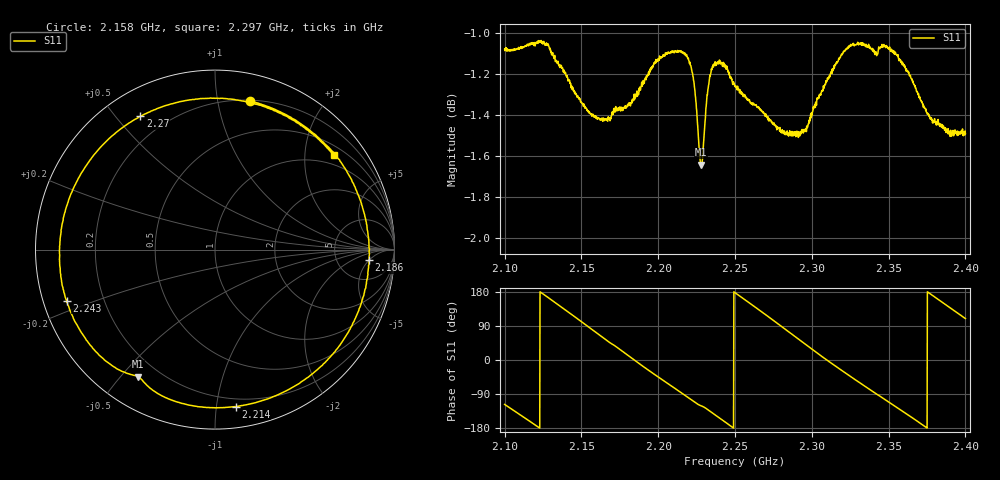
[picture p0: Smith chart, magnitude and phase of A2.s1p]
!Agilent N9918A: A.07.57
!Date: Thursday, 18 December 2014 18:14:04
!TimeZone: (GMT+08:00) Kuala Lumpur, Singapore!Model: N9918A
!Serial: MY53103598
!GPS Latitude:
!GPS Longitude:
!GPS TimeStamp: 0001-01-01 00:00:00Z
!GPS Seconds Since Last Read: 0
!CHECKSUM:1991412981
!Correction: S11(Rdy)
!S1P File: Measurement: S11:
# Hz S DB R 50
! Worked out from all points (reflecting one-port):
!   1601 points, 2.1 GHz to 2.4 GHz, reference 50 ohm
!   lowest |S11| = -1.6 dB at 2.228 GHz (marker M1), VSWR 10.61, Z = 6.2 - j27.9 ohm
!   phase of S11 starts at -117 deg and turns -853 deg over the sweep
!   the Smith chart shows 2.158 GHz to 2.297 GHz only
!   S11 on the Smith chart (normalised r, x): 2.158 GHz: 0.21, +1.24; 2.186 GHz: 11, -5; 2.214 GHz: 0.14, -1.13; 2.243 GHz: 0.07, -0.17; 2.27 GHz: 0.11, +0.58; 2.297 GHz: 0.73, +2.70
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2.1e9  -1.08 -117.2
2.11125e9  -1.07 -147.7
2.12025e9  -1.05 -172.4
2.1285e9  -1.06 164.3
2.1375e9  -1.17 138.3
2.148e9  -1.32 107.2
2.158125e9  -1.40 76.8
2.175e9  -1.37 28.1
2.185688e9  -1.31 -3.8
2.197875e9  -1.14 -38.9
2.2125e9  -1.10 -79.4
2.213625e9  -1.09 -82.5
2.228062e9  -1.64 -121.1
2.242688e9  -1.17 -161.1
2.25e9  -1.26 177.7
2.259562e9  -1.33 150.0
2.270062e9  -1.40 119.2
2.278875e9  -1.47 92.7
2.2875e9  -1.50 66.8
2.296875e9  -1.46 38.4
2.31075e9  -1.22 -2.8
2.325e9  -1.07 -42.9
2.33475e9  -1.06 -69.7
2.344312e9  -1.08 -95.3
2.3625e9  -1.19 -144.5
2.3715e9  -1.34 -169.5
2.380688e9  -1.44 164.5
2.4e9  -1.49 109.3
